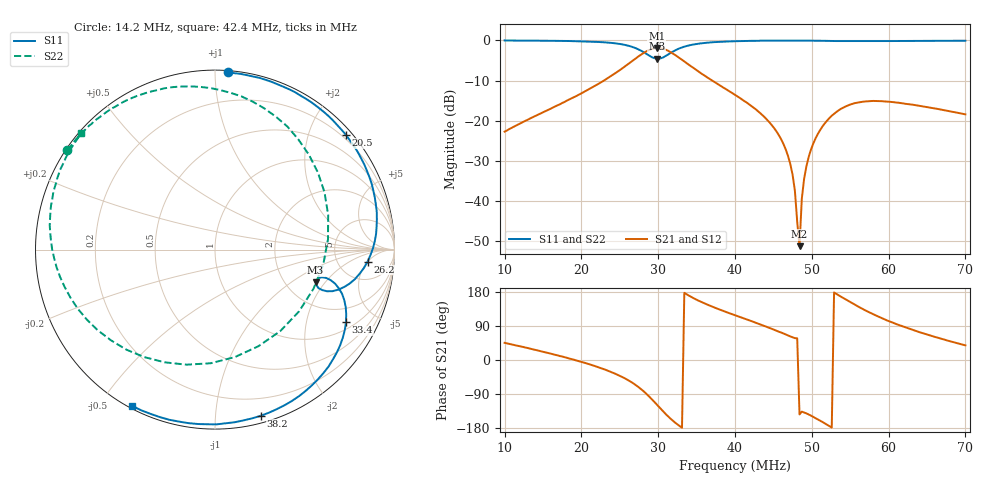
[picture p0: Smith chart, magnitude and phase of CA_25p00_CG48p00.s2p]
#  HZ  S  RI  R  50.00
! Rohde & Schwarz ZVT8 8Ports - Version 4.11 - 1300.0000k08 SN: 100242
! Date: 2026-07-31 14:29:46
! Measurements: S11 S21 S12 S22
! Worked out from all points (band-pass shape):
!   201 points, 10 MHz to 70 MHz, reference 50 ohm
!   highest |S21| = -1.90 dB at 29.8 MHz (marker M1); lowest = -51.3 dB at 48.4 MHz (marker M2)
!   |S21| within 3 dB of the highest: 26.78 MHz to 33.14 MHz (6.358 MHz wide, 21.2 % of centre)
!   lowest |S11| = -4.6 dB at 29.8 MHz (marker M3), VSWR 3.87, Z = 144 - j80.7 ohm
!   |S11| at or under -10 dB: nowhere
!   |S22| runs from -4.7 to 0.0 dB; largest |S21 - S12| = 0.003
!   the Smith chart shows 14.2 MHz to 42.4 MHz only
!   S11 on the Smith chart (normalised r, x): 14.2 MHz: 0.01, +1.08; 20.5 MHz: 0.12, +2.66; 26.2 MHz: 10, -5; 33.4 MHz: 1.28, -3.41; 38.2 MHz: 0.05, -1.31; 42.4 MHz: 0.01, -0.60
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1e7  -0.4091 0.9088  0.0513 0.0519  0.0509 0.0521  -0.9179 0.3885
1.42e7  0.0721 0.988  0.105 0.0508  0.1051 0.0508  -0.8223 0.5551
2.02e7  0.7049 0.6678  0.2229 -0.024  0.2222 -0.0239  -0.553 0.7977
2.05e7  0.7307 0.6385  0.2298 -0.0318  0.2284 -0.0323  -0.5327 0.8101
2.62e7  0.8499 -0.0674  0.298 -0.4222  0.2981 -0.4207  0.2096 0.8246
2.83e7  0.6537 -0.2318  0.0487 -0.7128  0.0462 -0.7128  0.6102 0.3199
2.98e7  0.5606 -0.1828  -0.3671 -0.7145  -0.3675 -0.7136  0.4681 -0.3444
3.01e7  0.5659 -0.1694  -0.4466 -0.6676  -0.4456 -0.6662  0.3643 -0.4535
3.34e7  0.7295 -0.4055  -0.5457 0.0264  -0.5447 0.0267  -0.7659 -0.3276
3.82e7  0.2548 -0.926  -0.1787 0.2008  -0.178 0.201  -0.8866 0.3674
4e7  -0.0427 -0.9731  -0.0986 0.185  -0.0985 0.1848  -0.8324 0.5098
4.24e7  -0.4623 -0.8704  -0.027 0.1431  -0.0268 0.143  -0.7445 0.6488
4.69e7  -0.9913 -0.0622  0.0156 0.033  0.0156 0.0331  -0.5646 0.8222
4.78e7  -0.9775 0.1841  0.00716 0.0113  0.00705 0.0112  -0.5258 0.8462
4.84e7  -0.9278 0.3537  -0.0022 -0.00163  -0.00211 -0.00163  -0.5021 0.8617
4.9e7  -0.8463 0.5181  -0.0142 -0.0126  -0.0141 -0.0126  -0.4773 0.8751
5.02e7  -0.5778 0.8038  -0.0452 -0.0259  -0.0451 -0.0259  -0.427 0.8996
5.26e7  0.2585 0.9477  -0.1153 -0.00356  -0.1148 -0.00359  -0.3277 0.9345
5.53e7  0.9414 0.2615  -0.1395 0.0826  -0.1391 0.0824  -0.2233 0.9575
6.01e7  0.3558 -0.9116  -0.0361 0.1681  -0.0357 0.1675  -0.0473 0.9808
6.52e7  -0.6268 -0.7601  0.0593 0.1344  0.0594 0.1338  0.1445 0.9767
7e7  -0.983 -0.1071  0.0936 0.0748  0.0936 0.0744  0.3262 0.9347
